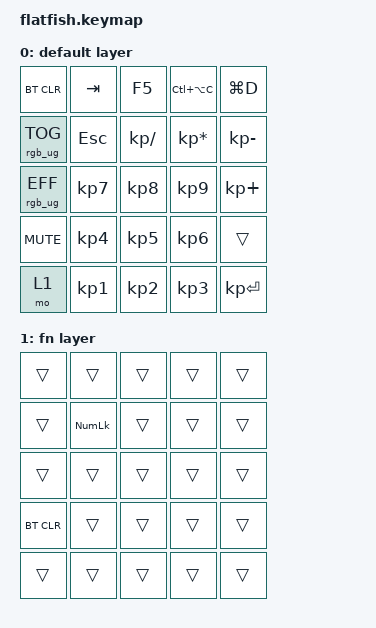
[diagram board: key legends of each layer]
#include <behaviors.dtsi>
#include <dt-bindings/zmk/keys.h>
#include <dt-bindings/zmk/bt.h>
#include <dt-bindings/zmk/rgb.h>


/ {
    keymap0: keymap {
        compatible = "zmk,keymap";

        default_layer {
            display-name = "default layer";
            bindings = <
                &bt BT_CLR       &kp TAB      &kp F5          &kp LC(LA(C))     &kp LG(D)
                &rgb_ug RGB_TOG  &kp ESC      &kp KP_DIVIDE   &kp KP_MULTIPLY   &kp KP_MINUS
                &rgb_ug RGB_EFF  &kp KP_N7    &kp KP_N8       &kp KP_N9         &kp KP_PLUS
                &kp C_MUTE       &kp KP_N4    &kp KP_N5       &kp KP_N6         &trans
                &mo 1            &kp KP_N1    &kp KP_N2       &kp KP_N3         &kp KP_ENTER
            >;
        };

        fn_layer {
            display-name = "fn layer";
            bindings = <
                &trans      &trans     &trans        &trans          &trans
                &trans      &kp KP_NUM &trans        &trans          &trans
                &trans      &trans     &trans        &trans             &trans
                &bt BT_CLR  &trans     &trans        &trans          &trans
                &trans      &trans     &trans        &trans          &trans
            >;
        };
    };
};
